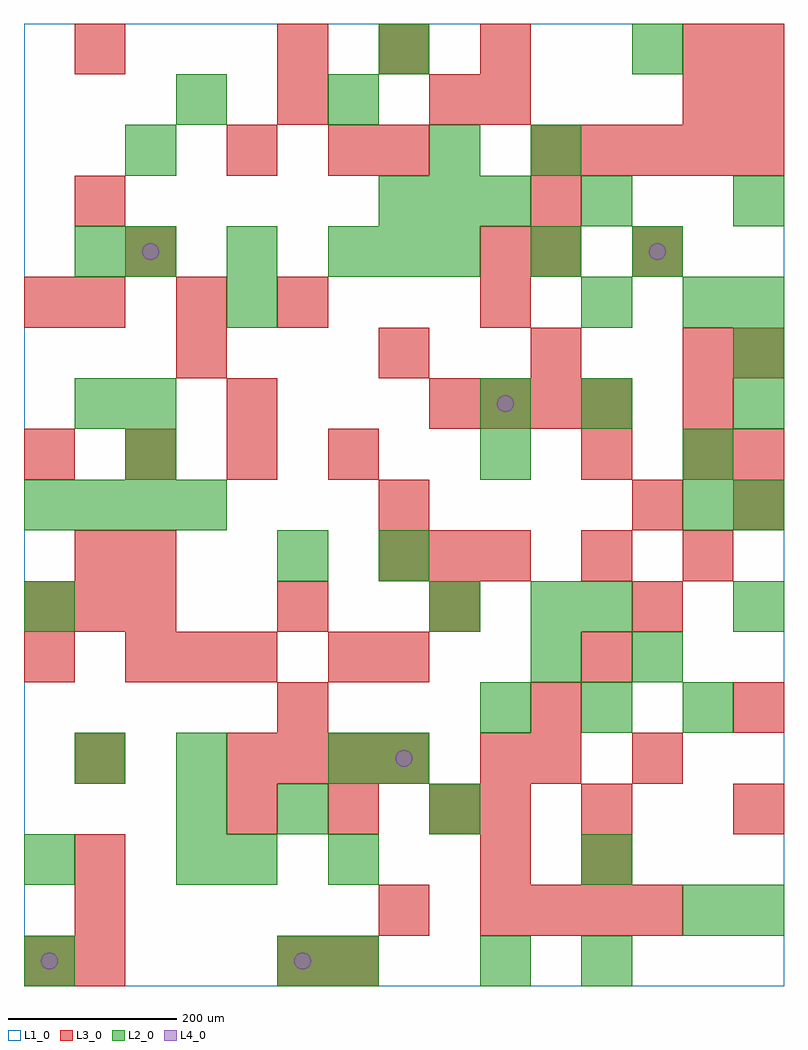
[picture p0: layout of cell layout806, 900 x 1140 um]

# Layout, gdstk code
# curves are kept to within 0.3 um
import gdstk
lib = gdstk.Library(unit=1e-6, precision=1e-09)
def R(c, l, rs):  # rectangles x0, y0, x1, y1
    for r in rs: c.add(gdstk.rectangle(r[:2], r[2:], *l))
def A(c, l, x, y, w, h, nx, ny, dx, dy):  # array of equal rectangles
    R(c, l, [(x+i*dx, y+j*dy, x+i*dx+w, y+j*dy+h) for i in range(nx) for j in range(ny)])
def P(c, l, *ps):  # polygons
    for p in ps: c.add(gdstk.Polygon(p, *l))
L1_0 = (1, 0)
L2_0 = (2, 0)
L3_0 = (3, 0)
L4_0 = (4, 0)

layout806 = lib.new_cell('layout806')
R(layout806, L1_0, [(0,0,900,1140)])
A(layout806, L2_0, 360, 0, 60, 60, 1, 3, 0, 120)
A(layout806, L2_0, 180, 120, 60, 60, 1, 3, 0, 60)
A(layout806, L2_0, 540, 300, 60, 60, 3, 1, 120, 0)
A(layout806, L2_0, 840, 420, 60, 60, 1, 3, 0, 120)
A(layout806, L2_0, 0, 540, 60, 60, 4, 1, 60, 0)
A(layout806, L2_0, 660, 660, 60, 60, 1, 3, 0, 120)
A(layout806, L2_0, 120, 840, 60, 60, 3, 1, 120, 0)
A(layout806, L2_0, 480, 840, 60, 60, 3, 1, 120, 0)
A(layout806, L2_0, 420, 900, 60, 60, 3, 1, 60, 0)
R(layout806, L2_0, [(0,0,60,60), (300,0,360,60), (540,0,600,60), (660,0,720,60), (780,60,840,120), (840,60,900,120), (0,120,60,180), (240,120,300,180), (660,120,720,180), (300,180,360,240), (480,180,540,240), (60,240,120,300), (420,240,480,300), (600,360,660,420), (720,360,780,420), (0,420,60,480), (480,420,540,480), (600,420,660,480), (660,420,720,480), (300,480,360,540), (420,480,480,540), (780,540,840,600), (120,600,180,660), (540,600,600,660), (780,600,840,660), (60,660,120,720), (120,660,180,720), (540,660,600,720), (840,720,900,780), (240,780,300,840), (780,780,840,840), (840,780,900,840), (60,840,120,900), (420,840,480,900), (840,900,900,960), (120,960,180,1020), (480,960,540,1020), (600,960,660,1020), (180,1020,240,1080), (360,1020,420,1080), (420,1080,480,1140), (720,1080,780,1140)])
A(layout806, L3_0, 60, 0, 60, 60, 1, 3, 0, 60)
A(layout806, L3_0, 540, 60, 60, 60, 4, 1, 60, 0)
A(layout806, L3_0, 540, 120, 60, 60, 1, 3, 0, 60)
A(layout806, L3_0, 240, 180, 60, 60, 3, 1, 120, 0)
A(layout806, L3_0, 240, 240, 60, 60, 4, 1, 60, 0)
A(layout806, L3_0, 120, 360, 60, 60, 3, 1, 60, 0)
A(layout806, L3_0, 660, 360, 60, 60, 1, 3, 0, 120)
A(layout806, L3_0, 0, 420, 60, 60, 3, 1, 60, 0)
A(layout806, L3_0, 420, 480, 60, 60, 3, 1, 60, 0)
A(layout806, L3_0, 0, 600, 60, 60, 4, 1, 120, 0)
A(layout806, L3_0, 480, 660, 60, 60, 4, 1, 60, 0)
A(layout806, L3_0, 420, 720, 60, 60, 3, 1, 180, 0)
A(layout806, L3_0, 60, 780, 60, 60, 3, 1, 120, 0)
A(layout806, L3_0, 600, 960, 60, 60, 5, 1, 60, 0)
A(layout806, L3_0, 300, 1080, 60, 60, 3, 1, 120, 0)
R(layout806, L3_0, [(0,0,60,60), (300,0,360,60), (360,0,420,60), (420,60,480,120), (660,120,720,180), (660,180,720,240), (840,180,900,240), (60,240,120,300), (600,240,660,300), (720,240,780,300), (300,300,360,360), (600,300,660,360), (840,300,900,360), (0,360,60,420), (360,360,420,420), (420,360,480,420), (300,420,360,480), (480,420,540,480), (720,420,780,480), (60,480,120,540), (120,480,180,540), (780,480,840,540), (420,540,480,600), (720,540,780,600), (840,540,900,600), (780,600,840,660), (840,600,900,660), (240,660,300,720), (780,660,840,720), (180,720,240,780), (840,720,900,780), (0,780,60,840), (540,780,600,840), (120,840,180,900), (540,840,600,900), (600,840,660,900), (720,840,780,900), (60,900,120,960), (600,900,660,960), (240,960,300,1020), (360,960,420,1020), (420,960,480,1020), (300,1020,360,1080), (480,1020,540,1080), (540,1020,600,1080), (780,1020,840,1080), (840,1020,900,1080), (60,1080,120,1140), (780,1080,840,1140), (840,1080,900,1140)])
P(layout806, L4_0, [(40,30),(39.239,33.827),(37.071,37.071),(33.827,39.239),(30,40),(26.173,39.239),(22.929,37.071),(20.761,33.827),(20,30),(20.761,26.173),(22.929,22.929),(26.173,20.761),(30,20),(33.827,20.761),(37.071,22.929),(39.239,26.173)],
  [(160,870),(159.239,873.827),(157.071,877.071),(153.827,879.239),(150,880),(146.173,879.239),(142.929,877.071),(140.761,873.827),(140,870),(140.761,866.173),(142.929,862.929),(146.173,860.761),(150,860),(153.827,860.761),(157.071,862.929),(159.239,866.173)],
  [(340,30),(339.239,33.827),(337.071,37.071),(333.827,39.239),(330,40),(326.173,39.239),(322.929,37.071),(320.761,33.827),(320,30),(320.761,26.173),(322.929,22.929),(326.173,20.761),(330,20),(333.827,20.761),(337.071,22.929),(339.239,26.173)],
  [(460,270),(459.239,273.827),(457.071,277.071),(453.827,279.239),(450,280),(446.173,279.239),(442.929,277.071),(440.761,273.827),(440,270),(440.761,266.173),(442.929,262.929),(446.173,260.761),(450,260),(453.827,260.761),(457.071,262.929),(459.239,266.173)],
  [(580,690),(579.239,693.827),(577.071,697.071),(573.827,699.239),(570,700),(566.173,699.239),(562.929,697.071),(560.761,693.827),(560,690),(560.761,686.173),(562.929,682.929),(566.173,680.761),(570,680),(573.827,680.761),(577.071,682.929),(579.239,686.173)],
  [(760,870),(759.239,873.827),(757.071,877.071),(753.827,879.239),(750,880),(746.173,879.239),(742.929,877.071),(740.761,873.827),(740,870),(740.761,866.173),(742.929,862.929),(746.173,860.761),(750,860),(753.827,860.761),(757.071,862.929),(759.239,866.173)])

lib.write_gds('layout806.gds')
